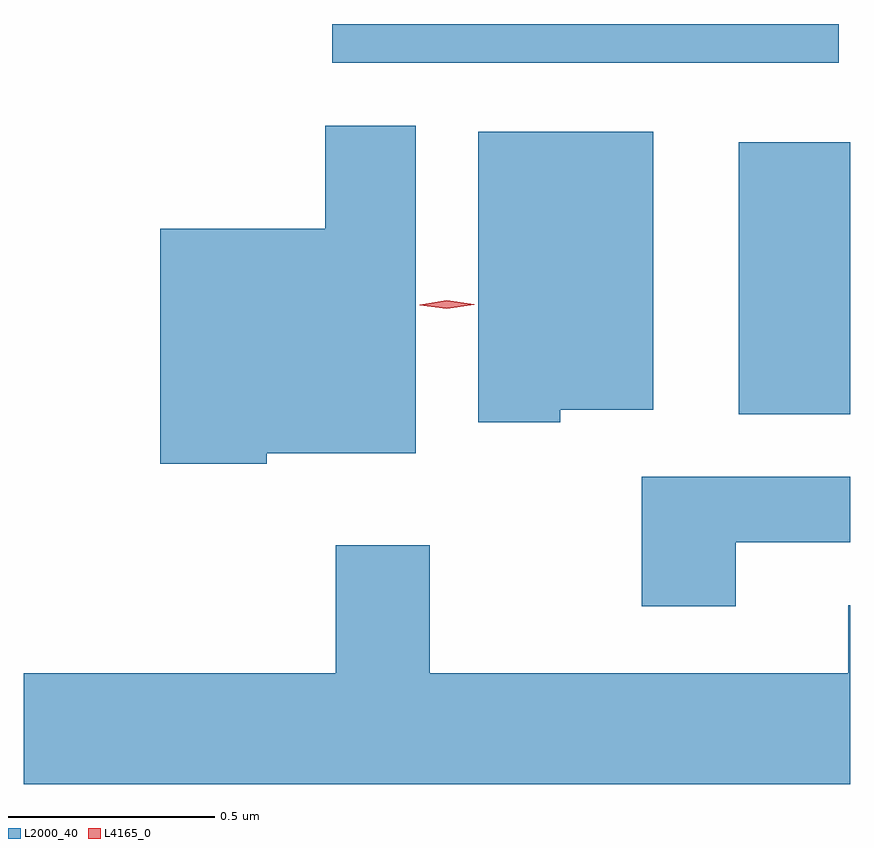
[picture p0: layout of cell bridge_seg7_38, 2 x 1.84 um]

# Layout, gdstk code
import gdstk
lib = gdstk.Library(unit=1e-6, precision=1e-09)
def R(c, l, rs):  # rectangles x0, y0, x1, y1
    for r in rs: c.add(gdstk.rectangle(r[:2], r[2:], *l))
def P(c, l, *ps):  # polygons
    for p in ps: c.add(gdstk.Polygon(p, *l))
L2000_40 = (2000, 40)
L4165_0 = (4165, 0)

bridge_seg7_38 = lib.new_cell('bridge_seg7_38')
R(bridge_seg7_38, L2000_40, [(1775.846,1777.371,1776.116,1778.029), (1774.863,1778.221,1776.088,1778.315)])
P(bridge_seg7_38, L2000_40, [(1774.704,1777.276),(1775.064,1777.276),(1775.064,1778.069),(1774.846,1778.069),(1774.846,1777.819),(1774.446,1777.819),(1774.446,1777.251),(1774.704,1777.251)],
  [(1775.414,1777.381),(1775.639,1777.381),(1775.639,1778.054),(1775.216,1778.054),(1775.216,1777.351),(1775.414,1777.351)],
  [(1775.839,1777.061),(1776.116,1777.061),(1776.116,1777.219),(1775.611,1777.219),(1775.611,1776.906),(1775.839,1776.906)],
  [(1776.116,1776.909),(1776.111,1776.909),(1776.111,1776.744),(1775.099,1776.744),(1775.099,1777.054),(1774.871,1777.054),(1774.871,1776.744),(1774.116,1776.744),(1774.116,1776.476),(1776.116,1776.476)])
P(bridge_seg7_38, L4165_0, [(1775.14,1777.626),(1775.074,1777.635),(1775.074,1777.635),(1775.074,1777.636),(1775.14,1777.646),(1775.206,1777.637),(1775.206,1777.637),(1775.206,1777.636)])

lib.write_gds('bridge_seg7_38.gds')
